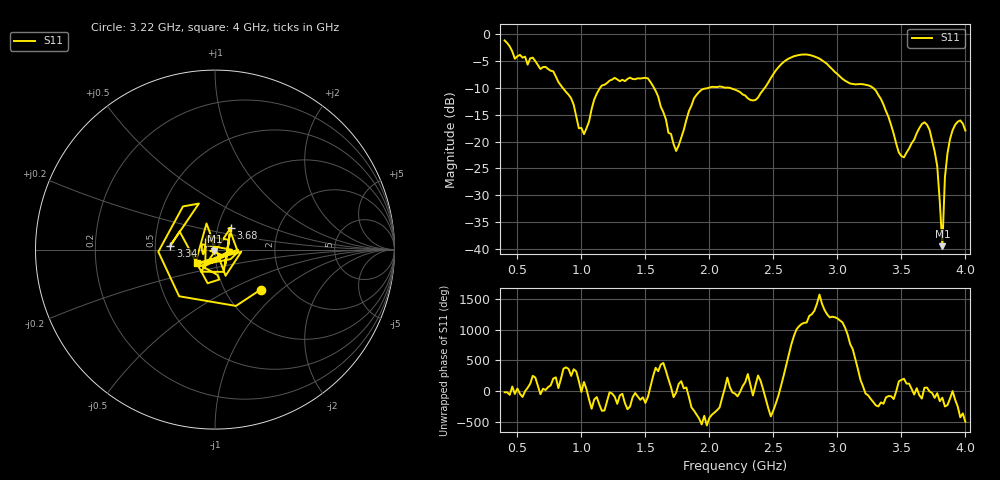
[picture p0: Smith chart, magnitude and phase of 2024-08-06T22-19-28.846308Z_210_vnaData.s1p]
!Created with skrf (http://scikit-rf.org).
# Hz S RI R 50.0
!freq ReS11 ImS11
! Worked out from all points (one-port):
!   181 points, 400 MHz to 4 GHz, reference 50 ohm
!   lowest |S11| = -39.5 dB at 3.82 GHz (marker M1), VSWR 1.02, Z = 49.7 - j0.992 ohm
!   |S11| at or under -10 dB: 854.6 MHz to 1.146 GHz (291.2 MHz wide, 29.1 % of centre); 1.568 GHz to 1.989 GHz (421.6 MHz wide, 23.7 % of centre); 3.28 GHz to end of sweep (the widest 3 of 4)
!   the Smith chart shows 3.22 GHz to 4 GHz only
!   S11 on the Smith chart (normalised r, x): 3.22 GHz: 1.46, -0.74; 3.34 GHz: 0.60, +0.03; 3.68 GHz: 1.16, +0.29; 4 GHz: 0.81, -0.12
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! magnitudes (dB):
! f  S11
! 400 MHz  -1.1
! 480 MHz  -4.5
! 620 MHz  -4.3
! 860 MHz  -10.2
! 1.02 GHz  -18.6
! 1.14 GHz  -10.2
! 1.3 GHz  -8.7
! 1.52 GHz  -8.2
! 1.74 GHz  -21.8
! 1.76 GHz  -20.7
! 1.92 GHz  -10.7
! 2.2 GHz  -10.3
! 2.36 GHz  -12.2
! 2.66 GHz  -4.1
! 2.86 GHz  -4.5
! 3.1 GHz  -9.2
! 3.22 GHz  -9.4
! 3.34 GHz  -12.1
! 3.48 GHz  -22.0
! 3.56 GHz  -21.3
! 3.68 GHz  -16.4
! 3.72 GHz  -17.8
! 3.78 GHz  -24.6
! 3.82 GHz  -39.5
! 3.84 GHz  -26.7
! 3.88 GHz  -19.5
! 3.94 GHz  -16.3
! 4 GHz  -18.0
